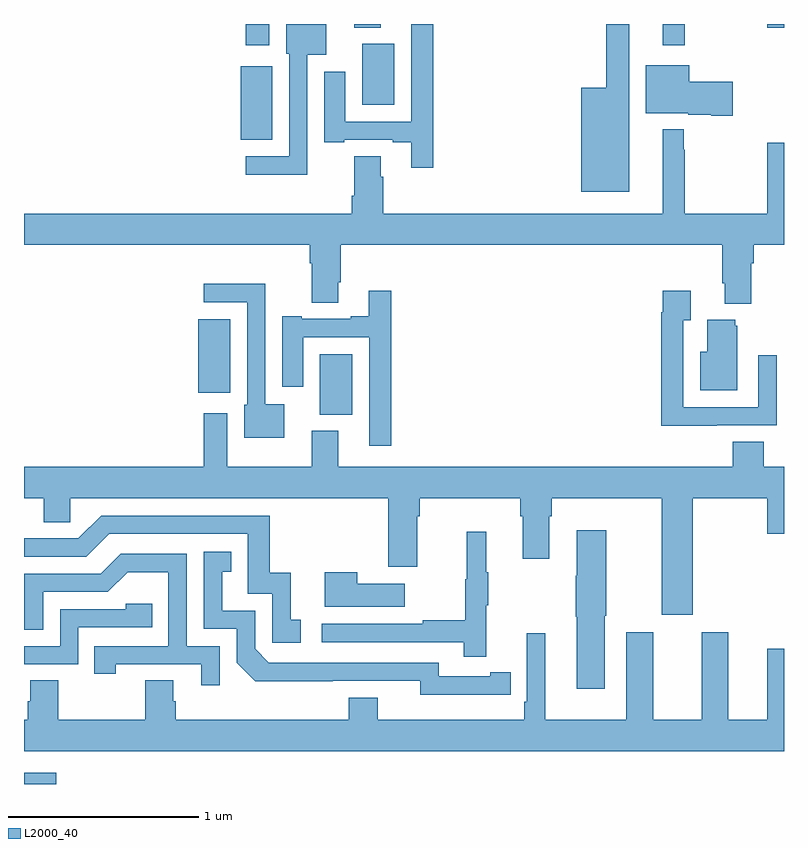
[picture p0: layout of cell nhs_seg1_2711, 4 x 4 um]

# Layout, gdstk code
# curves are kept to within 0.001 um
import gdstk
lib = gdstk.Library(unit=1e-6, precision=1e-09)
def R(c, l, rs):  # rectangles x0, y0, x1, y1
    for r in rs: c.add(gdstk.rectangle(r[:2], r[2:], *l))
def P(c, l, *ps):  # polygons
    for p in ps: c.add(gdstk.Polygon(p, *l))
L2000_40 = (2000, 40)

nhs_seg1_2711 = lib.new_cell('nhs_seg1_2711')
R(nhs_seg1_2711, L2000_40, [(257,578.199,257.17,578.257), (258.557,580.142,258.727,580.462), (257.918,580.259,258.085,580.645), (258.14,581.591,258.307,581.977), (258.779,581.774,258.949,582.094), (258.166,582.087,258.292,582.199), (260.363,582.087,260.477,582.199), (258.737,582.179,258.877,582.199), (260.912,582.18,261,582.199)])
P(nhs_seg1_2711, L2000_40, [(258.492,582.038),(258.592,582.038),(258.592,582.199),(258.38,582.199),(258.38,582.042),(258.396,582.042),(258.396,581.502),(258.168,581.502),(258.168,581.405),(258.492,581.405)],
  [(259.154,582.199),(259.038,582.199),(259.038,581.685),(258.691,581.685),(258.691,581.947),(258.581,581.947),(258.581,581.577),(258.685,581.577),(258.685,581.589),(258.941,581.589),(258.941,581.577),(259.037,581.577),(259.037,581.442),(259.154,581.442)],
  [(260.185,582.199),(260.064,582.199),(260.064,581.863),(259.934,581.863),(259.934,581.315),(260.185,581.315)],
  [(260.731,581.895),(260.5,581.895),(260.5,581.983),(260.273,581.983),(260.273,581.729),(260.496,581.729),(260.496,581.722),(260.618,581.722),(260.618,581.717),(260.731,581.717)],
  [(260.827,580.94),(260.84,580.94),(260.84,581.036),(261,581.036),(261,581.575),(260.912,581.575),(260.912,581.2),(260.477,581.2),(260.477,581.537),(260.473,581.537),(260.473,581.644),(260.363,581.644),(260.363,581.2),(258.89,581.2),(258.89,581.396),(258.877,581.396),(258.877,581.504),(258.737,581.504),(258.737,581.296),(258.725,581.296),(258.725,581.2),(257,581.2),(257,581.036),(258.503,581.036),(258.503,580.94),(258.515,580.94),(258.515,580.732),(258.655,580.732),(258.655,580.84),(258.668,580.84),(258.668,581.036),(260.675,581.036),(260.675,580.834),(260.687,580.834),(260.687,580.727),(260.827,580.727)],
  [(258.37,580.198),(258.27,580.198),(258.27,580.832),(257.946,580.832),(257.946,580.734),(258.174,580.734),(258.174,580.194),(258.158,580.194),(258.158,580.022),(258.37,580.022)],
  [(258.932,580.795),(258.815,580.795),(258.815,580.66),(258.719,580.66),(258.719,580.647),(258.463,580.647),(258.463,580.66),(258.359,580.66),(258.359,580.29),(258.469,580.29),(258.469,580.551),(258.816,580.551),(258.816,579.978),(258.932,579.978)],
  [(260.645,580.086),(260.961,580.086),(260.961,580.456),(260.865,580.456),(260.865,580.182),(260.469,580.182),(260.469,580.639),(260.509,580.639),(260.509,580.795),(260.361,580.795),(260.361,580.682),(260.353,580.682),(260.353,580.085),(260.645,580.085)],
  [(260.755,580.611),(260.744,580.611),(260.744,580.642),(260.597,580.642),(260.597,580.474),(260.558,580.474),(260.558,580.271),(260.755,580.271)],
  [(260.521,579.704),(260.912,579.704),(260.912,579.516),(261,579.516),(261,579.868),(260.894,579.868),(260.894,580.001),(260.729,580.001),(260.729,579.868),(258.655,579.868),(258.655,580.057),(258.515,580.057),(258.515,579.868),(258.07,579.868),(258.07,580.15),(257.945,580.15),(257.945,579.868),(257,579.868),(257,579.704),(257.105,579.704),(257.105,579.577),(257.244,579.577),(257.244,579.704),(258.916,579.704),(258.916,579.342),(259.069,579.342),(259.069,579.608),(259.082,579.608),(259.082,579.704),(259.613,579.704),(259.613,579.608),(259.625,579.608),(259.625,579.384),(259.765,579.384),(259.765,579.608),(259.778,579.608),(259.778,579.704),(260.357,579.704),(260.357,579.09),(260.521,579.09)],
  [(258.457,579.063),(258.404,579.063),(258.404,579.31),(258.293,579.31),(258.293,579.612),(257.406,579.612),(257.286,579.492),(257,579.492),(257,579.396),(257.328,579.396),(257.448,579.516),(258.177,579.516),(258.177,579.201),(258.306,579.201),(258.306,578.943),(258.457,578.943)],
  [(260.056,579.085),(260.064,579.085),(260.064,579.535),(259.91,579.535),(259.91,579.296),(259.903,579.296),(259.903,579.079),(259.91,579.079),(259.91,578.7),(260.056,578.7)],
  [(259.433,579.139),(259.444,579.139),(259.444,579.313),(259.433,579.313),(259.433,579.526),(259.33,579.526),(259.33,579.276),(259.323,579.276),(259.323,579.062),(259.099,579.062),(259.099,579.042),(258.567,579.042),(258.567,578.946),(259.315,578.946),(259.315,578.868),(259.433,578.868)],
  [(259.454,578.67),(259.562,578.67),(259.562,578.786),(259.454,578.786),(259.454,578.766),(259.182,578.766),(259.182,578.838),(258.288,578.838),(258.216,578.91),(258.216,579.111),(258.043,579.111),(258.043,579.315),(258.092,579.315),(258.092,579.421),(257.946,579.421),(257.946,579.015),(258.12,579.015),(258.12,578.838),(258.218,578.741),(259.086,578.742),(259.086,578.669)],
  [(258.03,578.925),(257.856,578.925),(257.856,579.411),(257.51,579.411),(257.405,579.306),(257.002,579.306),(257.002,579.121),(257,579.121),(257,579.012),(257.1,579.012),(257.1,579.21),(257.442,579.21),(257.546,579.314),(257.76,579.314),(257.76,578.925),(257.371,578.925),(257.371,578.778),(257.482,578.778),(257.482,578.829),(257.933,578.829),(257.933,578.718),(258.03,578.718)],
  [(259.003,579.253),(258.755,579.253),(258.755,579.313),(258.584,579.313),(258.584,579.131),(259.003,579.131)],
  [(257.286,579.024),(257.675,579.024),(257.675,579.147),(257.535,579.147),(257.535,579.12),(257.19,579.12),(257.19,578.925),(257,578.925),(257,578.829),(257.286,578.829)],
  [(261,578.911),(260.912,578.911),(260.912,578.536),(260.707,578.536),(260.707,578.998),(260.567,578.998),(260.567,578.536),(260.311,578.536),(260.311,578.998),(260.171,578.998),(260.171,578.536),(259.744,578.536),(259.744,578.992),(259.647,578.992),(259.647,578.632),(259.634,578.632),(259.634,578.536),(258.862,578.536),(258.862,578.653),(258.71,578.653),(258.71,578.536),(257.798,578.536),(257.798,578.634),(257.785,578.634),(257.785,578.744),(257.638,578.744),(257.638,578.536),(257.181,578.536),(257.181,578.744),(257.033,578.744),(257.033,578.634),(257.021,578.634),(257.021,578.536),(257,578.536),(257,578.372),(261,578.372)])

lib.write_gds('nhs_seg1_2711.gds')
